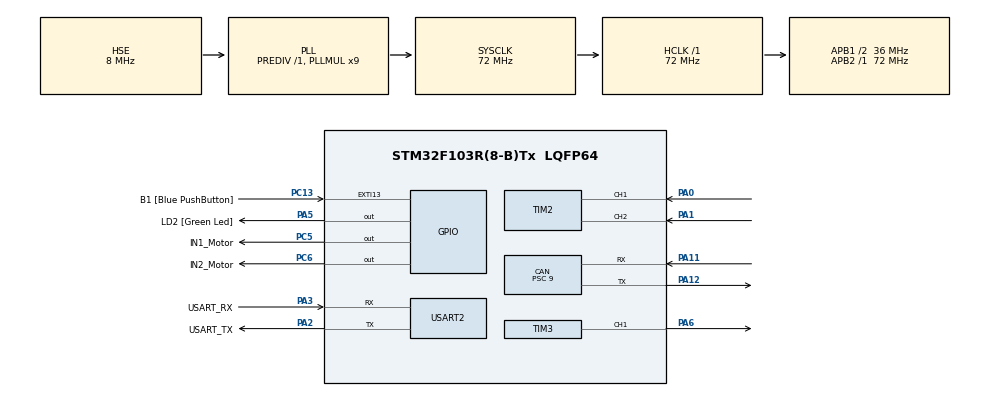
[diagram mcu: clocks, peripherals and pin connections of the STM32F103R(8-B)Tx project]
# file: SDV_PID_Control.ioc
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CAN.BS1=CAN_BS1_4TQ
CAN.BS2=CAN_BS2_3TQ
CAN.CalculateBaudRate=500000
CAN.CalculateTimeBit=2000
CAN.CalculateTimeQuantum=250.0
CAN.Prescaler=9
Mcu.Family=STM32F1
Mcu.Name=STM32F103R(8-B)Tx
Mcu.Package=LQFP64
NVIC.EXTI15_10_IRQn=true\:0\:0\:false\:false\:true\:true\:true\:true
NVIC.PriorityGroup=NVIC_PRIORITYGROUP_4
NVIC.TIM4_IRQn=true\:0\:0\:false\:false\:true\:true\:true\:true
NVIC.USB_LP_CAN1_RX0_IRQn=true\:0\:0\:false\:false\:true\:true\:true\:true
PA0-WKUP.Signal=S_TIM2_CH1_ETR
PA1.Signal=S_TIM2_CH2
PA11.Mode=CAN_Activate
PA11.Signal=CAN_RX
PA12.Mode=CAN_Activate
PA12.Signal=CAN_TX
PA13.GPIO_Label=TMS
PA13.Mode=Serial_Wire
PA13.Signal=SYS_JTMS-SWDIO
PA14.GPIO_Label=TCK
PA14.Mode=Serial_Wire
PA14.Signal=SYS_JTCK-SWCLK
PA2.GPIO_Label=USART_TX
PA2.GPIO_Mode=GPIO_MODE_AF_PP
PA2.GPIO_PuPd=GPIO_NOPULL
PA2.GPIO_Speed=GPIO_SPEED_FREQ_LOW
PA2.Mode=Asynchronous
PA2.Signal=USART2_TX
PA3.GPIO_Label=USART_RX
PA3.GPIO_Mode=GPIO_MODE_AF_PP
PA3.GPIO_PuPd=GPIO_NOPULL
PA3.GPIO_Speed=GPIO_SPEED_FREQ_LOW
PA3.Mode=Asynchronous
PA3.Signal=USART2_RX
PA5.GPIO_Label=LD2 [Green Led]
PA5.GPIO_ModeDefaultOutputPP=GPIO_MODE_OUTPUT_PP
PA5.GPIO_PuPd=GPIO_NOPULL
PA5.GPIO_Speed=GPIO_SPEED_FREQ_LOW
PA5.Signal=GPIO_Output
PA6.Signal=S_TIM3_CH1
PB3.GPIO_Label=SWO
PB3.Signal=SYS_JTDO-TRACESWO
PC13-TAMPER-RTC.GPIO_Label=B1 [Blue PushButton]
PC13-TAMPER-RTC.GPIO_PuPd=GPIO_NOPULL
PC13-TAMPER-RTC.Signal=GPXTI13
PC14-OSC32_IN.Mode=LSE-External-Oscillator
PC14-OSC32_IN.Signal=RCC_OSC32_IN
PC15-OSC32_OUT.Mode=LSE-External-Oscillator
PC15-OSC32_OUT.Signal=RCC_OSC32_OUT
PC5.GPIO_Label=IN1_Motor
PC5.Signal=GPIO_Output
PC6.GPIO_Label=IN2_Motor
PC6.Signal=GPIO_Output
PD0-OSC_IN.Mode=HSE-External-Clock-Source
PD0-OSC_IN.Signal=RCC_OSC_IN
PD1-OSC_OUT.Mode=HSE-External-Clock-Source
PD1-OSC_OUT.Signal=RCC_OSC_OUT
ProjectManager.HeapSize=0x200
ProjectManager.StackSize=0x400
ProjectManager.TargetToolchain=STM32CubeIDE
RCC.AHBFreq_Value=72000000
RCC.APB1CLKDivider=RCC_HCLK_DIV2
RCC.APB1Freq_Value=36000000
RCC.APB1TimFreq_Value=72000000
RCC.APB2Freq_Value=72000000
RCC.APB2TimFreq_Value=72000000
RCC.HCLKFreq_Value=72000000
RCC.PLLMUL=RCC_PLL_MUL9
RCC.PLLSourceVirtual=RCC_PLLSOURCE_HSE
RCC.RTCClockSelection=RCC_RTCCLKSOURCE_LSE
RCC.SYSCLKFreq_VALUE=72000000
RCC.SYSCLKSource=RCC_SYSCLKSOURCE_PLLCLK
RCC.USBFreq_Value=72000000
SH.S_TIM2_CH1_ETR.0=TIM2_CH1,Encoder_Interface
SH.S_TIM2_CH2.0=TIM2_CH2,Encoder_Interface
SH.S_TIM3_CH1.0=TIM3_CH1,PWM Generation1 CH1
TIM2.EncoderMode=TIM_ENCODERMODE_TI12
TIM2.IC1Filter=10
TIM2.IC2Filter=10
TIM3.Channel-PWM\ Generation1\ CH1=TIM_CHANNEL_1
TIM3.Period=999
TIM3.Prescaler=71
TIM4.Period=999
TIM4.Prescaler=719
USART2.VirtualMode=VM_ASYNC
VP_TIM4_VS_ClockSourceINT.Mode=Internal
board=NUCLEO-F103RB

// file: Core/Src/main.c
/* USER CODE BEGIN Header */
/**
  ******************************************************************************
  * @file           : main.c
  * @brief          : Main program body
  ******************************************************************************
  * @attention
  *
  * Copyright (c) 2026 STMicroelectronics.
  * All rights reserved.
  *
  * This software is licensed under terms that can be found in the LICENSE file
  * in the root directory of this software component.
  * If no LICENSE file comes with this software, it is provided AS-IS.
  *
  ******************************************************************************
  */
/* USER CODE END Header */
#include "main.h"

/* USER CODE BEGIN PTD */
typedef struct {
	float Kp, Ki, Kd;
	float target_rpm;
	float current_rpm;
	float error, last_error, error_sum;
	float output;
}PID_Control;
/* USER CODE END PTD */

CAN_HandleTypeDef hcan;

TIM_HandleTypeDef htim2;
TIM_HandleTypeDef htim3;
TIM_HandleTypeDef htim4;

UART_HandleTypeDef huart2;

/* USER CODE BEGIN PV */
CAN_RxHeaderTypeDef rxHeader;
uint8_t 			rxData[8];
CAN_TxHeaderTypeDef txHeader;
uint8_t 			txData[8];
uint32_t 			txMailbox;

// 여기서 PID계수 바꿀것!!!
PID_Control motorPID = {1.3f, 0.3f, 0.01f, 0, 0, 0, 0, 0, 0};

int16_t last_cnt = 0;
volatile float current_rpm = 0;
volatile float target_rpm = 0;
volatile float pid_output = 0;

// 제어용 신호
volatile uint8_t accel_pressed = 0;
volatile uint8_t brake_pressed = 0;

/* USER CODE END PV */

void SystemClock_Config(void);
static void MX_GPIO_Init(void);
static void MX_USART2_UART_Init(void);
static void MX_CAN_Init(void);
static void MX_TIM2_Init(void);
static void MX_TIM3_Init(void);
static void MX_TIM4_Init(void);
/* USER CODE BEGIN PFP */
float update_PID(PID_Control *pid, float target, float current);
void Send_Motor_Data_to_Pi(float current_rpm, float target_rpm);

/* USER CODE END PFP */

int main(void)
{

  /* MCU Configuration--------------------------------------------------------*/

  /* Reset of all peripherals, Initializes the Flash interface and the Systick. */
  HAL_Init();

  /* Configure the system clock */
  SystemClock_Config();

  /* Initialize all configured peripherals */
  MX_GPIO_Init();
  MX_USART2_UART_Init();
  MX_CAN_Init();
  MX_TIM2_Init();
  MX_TIM3_Init();
  MX_TIM4_Init();
  /* USER CODE BEGIN 2 */

  CAN_FilterTypeDef sFilterConfig;
  sFilterConfig.FilterActivation = CAN_FILTER_ENABLE;
  sFilterConfig.FilterBank = 0;
  sFilterConfig.FilterFIFOAssignment = CAN_FILTER_FIFO0;
  sFilterConfig.FilterIdHigh = 0;
  sFilterConfig.FilterIdLow = 0;
  sFilterConfig.FilterMaskIdHigh = 0;
  sFilterConfig.FilterMaskIdLow = 0;
  sFilterConfig.FilterMode = CAN_FILTERMODE_IDMASK;
  sFilterConfig.FilterScale = CAN_FILTERSCALE_32BIT;
  HAL_CAN_ConfigFilter(&hcan, &sFilterConfig);

  HAL_CAN_Start(&hcan);
  HAL_CAN_ActivateNotification(&hcan, CAN_IT_RX_FIFO0_MSG_PENDING);
  HAL_TIM_Encoder_Start(&htim2, TIM_CHANNEL_ALL);

  HAL_TIM_PWM_Start(&htim3, TIM_CHANNEL_1);

  HAL_TIM_Base_Start_IT(&htim4);

  /* USER CODE END 2 */

  /* Infinite loop */
  while (1)
  {

  }
}

void SystemClock_Config(void)
{
  RCC_OscInitTypeDef RCC_OscInitStruct = {0};
  RCC_ClkInitTypeDef RCC_ClkInitStruct = {0};

  /** Initializes the RCC Oscillators according to the specified parameters
  * in the RCC_OscInitTypeDef structure.
  */
  RCC_OscInitStruct.OscillatorType = RCC_OSCILLATORTYPE_HSE;
  RCC_OscInitStruct.HSEState = RCC_HSE_BYPASS;
  RCC_OscInitStruct.HSEPredivValue = RCC_HSE_PREDIV_DIV1;
  RCC_OscInitStruct.HSIState = RCC_HSI_ON;
  RCC_OscInitStruct.PLL.PLLState = RCC_PLL_ON;
  RCC_OscInitStruct.PLL.PLLSource = RCC_PLLSOURCE_HSE;
  RCC_OscInitStruct.PLL.PLLMUL = RCC_PLL_MUL9;
  if (HAL_RCC_OscConfig(&RCC_OscInitStruct) != HAL_OK)
  {
    Error_Handler();
  }

  /** Initializes the CPU, AHB and APB buses clocks
  */
  RCC_ClkInitStruct.ClockType = RCC_CLOCKTYPE_HCLK|RCC_CLOCKTYPE_SYSCLK
                              |RCC_CLOCKTYPE_PCLK1|RCC_CLOCKTYPE_PCLK2;
  RCC_ClkInitStruct.SYSCLKSource = RCC_SYSCLKSOURCE_PLLCLK;
  RCC_ClkInitStruct.AHBCLKDivider = RCC_SYSCLK_DIV1;
  RCC_ClkInitStruct.APB1CLKDivider = RCC_HCLK_DIV2;
  RCC_ClkInitStruct.APB2CLKDivider = RCC_HCLK_DIV1;

  if (HAL_RCC_ClockConfig(&RCC_ClkInitStruct, FLASH_LATENCY_2) != HAL_OK)
  {
    Error_Handler();
  }
}

static void MX_CAN_Init(void)
{

  hcan.Instance = CAN1;
  hcan.Init.Prescaler = 9;
  hcan.Init.Mode = CAN_MODE_NORMAL;
  hcan.Init.SyncJumpWidth = CAN_SJW_1TQ;
  hcan.Init.TimeSeg1 = CAN_BS1_4TQ;
  hcan.Init.TimeSeg2 = CAN_BS2_3TQ;
  hcan.Init.TimeTriggeredMode = DISABLE;
  hcan.Init.AutoBusOff = DISABLE;
  hcan.Init.AutoWakeUp = DISABLE;
  hcan.Init.AutoRetransmission = DISABLE;
  hcan.Init.ReceiveFifoLocked = DISABLE;
  hcan.Init.TransmitFifoPriority = DISABLE;
  if (HAL_CAN_Init(&hcan) != HAL_OK)
  {
    Error_Handler();
  }

}

static void MX_TIM2_Init(void)
{

  TIM_Encoder_InitTypeDef sConfig = {0};
  TIM_MasterConfigTypeDef sMasterConfig = {0};

  htim2.Instance = TIM2;
  htim2.Init.Prescaler = 0;
  htim2.Init.CounterMode = TIM_COUNTERMODE_UP;
  htim2.Init.Period = 65535;
  htim2.Init.ClockDivision = TIM_CLOCKDIVISION_DIV1;
  htim2.Init.AutoReloadPreload = TIM_AUTORELOAD_PRELOAD_DISABLE;
  sConfig.EncoderMode = TIM_ENCODERMODE_TI12;
  sConfig.IC1Polarity = TIM_ICPOLARITY_RISING;
  sConfig.IC1Selection = TIM_ICSELECTION_DIRECTTI;
  sConfig.IC1Prescaler = TIM_ICPSC_DIV1;
  sConfig.IC1Filter = 10;
  sConfig.IC2Polarity = TIM_ICPOLARITY_RISING;
  sConfig.IC2Selection = TIM_ICSELECTION_DIRECTTI;
  sConfig.IC2Prescaler = TIM_ICPSC_DIV1;
  sConfig.IC2Filter = 10;
  if (HAL_TIM_Encoder_Init(&htim2, &sConfig) != HAL_OK)
  {
    Error_Handler();
  }
  sMasterConfig.MasterOutputTrigger = TIM_TRGO_RESET;
  sMasterConfig.MasterSlaveMode = TIM_MASTERSLAVEMODE_DISABLE;
  if (HAL_TIMEx_MasterConfigSynchronization(&htim2, &sMasterConfig) != HAL_OK)
  {
    Error_Handler();
  }

}

static void MX_TIM3_Init(void)
{

  TIM_MasterConfigTypeDef sMasterConfig = {0};
  TIM_OC_InitTypeDef sConfigOC = {0};

  htim3.Instance = TIM3;
  htim3.Init.Prescaler = 71;
  htim3.Init.CounterMode = TIM_COUNTERMODE_UP;
  htim3.Init.Period = 999;
  htim3.Init.ClockDivision = TIM_CLOCKDIVISION_DIV1;
  htim3.Init.AutoReloadPreload = TIM_AUTORELOAD_PRELOAD_DISABLE;
  if (HAL_TIM_PWM_Init(&htim3) != HAL_OK)
  {
    Error_Handler();
  }
  sMasterConfig.MasterOutputTrigger = TIM_TRGO_RESET;
  sMasterConfig.MasterSlaveMode = TIM_MASTERSLAVEMODE_DISABLE;
  if (HAL_TIMEx_MasterConfigSynchronization(&htim3, &sMasterConfig) != HAL_OK)
  {
    Error_Handler();
  }
  sConfigOC.OCMode = TIM_OCMODE_PWM1;
  sConfigOC.Pulse = 0;
  sConfigOC.OCPolarity = TIM_OCPOLARITY_HIGH;
  sConfigOC.OCFastMode = TIM_OCFAST_DISABLE;
  if (HAL_TIM_PWM_ConfigChannel(&htim3, &sConfigOC, TIM_CHANNEL_1) != HAL_OK)
  {
    Error_Handler();
  }
  HAL_TIM_MspPostInit(&htim3);

}

static void MX_TIM4_Init(void)
{

  TIM_ClockConfigTypeDef sClockSourceConfig = {0};
  TIM_MasterConfigTypeDef sMasterConfig = {0};

  htim4.Instance = TIM4;
  htim4.Init.Prescaler = 719;
  htim4.Init.CounterMode = TIM_COUNTERMODE_UP;
  htim4.Init.Period = 999;
  htim4.Init.ClockDivision = TIM_CLOCKDIVISION_DIV1;
  htim4.Init.AutoReloadPreload = TIM_AUTORELOAD_PRELOAD_DISABLE;
  if (HAL_TIM_Base_Init(&htim4) != HAL_OK)
  {
    Error_Handler();
  }
  sClockSourceConfig.ClockSource = TIM_CLOCKSOURCE_INTERNAL;
  if (HAL_TIM_ConfigClockSource(&htim4, &sClockSourceConfig) != HAL_OK)
  {
    Error_Handler();
  }
  sMasterConfig.MasterOutputTrigger = TIM_TRGO_RESET;
  sMasterConfig.MasterSlaveMode = TIM_MASTERSLAVEMODE_DISABLE;
  if (HAL_TIMEx_MasterConfigSynchronization(&htim4, &sMasterConfig) != HAL_OK)
  {
    Error_Handler();
  }

}

static void MX_USART2_UART_Init(void)
{

  huart2.Instance = USART2;
  huart2.Init.BaudRate = 115200;
  huart2.Init.WordLength = UART_WORDLENGTH_8B;
  huart2.Init.StopBits = UART_STOPBITS_1;
  huart2.Init.Parity = UART_PARITY_NONE;
  huart2.Init.Mode = UART_MODE_TX_RX;
  huart2.Init.HwFlowCtl = UART_HWCONTROL_NONE;
  huart2.Init.OverSampling = UART_OVERSAMPLING_16;
  if (HAL_UART_Init(&huart2) != HAL_OK)
  {
    Error_Handler();
  }

}

static void MX_GPIO_Init(void)
{
  GPIO_InitTypeDef GPIO_InitStruct = {0};

  /* GPIO Ports Clock Enable */
  __HAL_RCC_GPIOC_CLK_ENABLE();
  __HAL_RCC_GPIOD_CLK_ENABLE();
  __HAL_RCC_GPIOA_CLK_ENABLE();
  __HAL_RCC_GPIOB_CLK_ENABLE();

  /*Configure GPIO pin Output Level */
  HAL_GPIO_WritePin(LD2_GPIO_Port, LD2_Pin, GPIO_PIN_RESET);

  /*Configure GPIO pin Output Level */
  HAL_GPIO_WritePin(GPIOC, IN1_Motor_Pin|IN2_Motor_Pin, GPIO_PIN_RESET);

  /*Configure GPIO pin : B1_Pin */
  GPIO_InitStruct.Pin = B1_Pin;
  GPIO_InitStruct.Mode = GPIO_MODE_IT_RISING;
  GPIO_InitStruct.Pull = GPIO_NOPULL;
  HAL_GPIO_Init(B1_GPIO_Port, &GPIO_InitStruct);

  /*Configure GPIO pin : LD2_Pin */
  GPIO_InitStruct.Pin = LD2_Pin;
  GPIO_InitStruct.Mode = GPIO_MODE_OUTPUT_PP;
  GPIO_InitStruct.Pull = GPIO_NOPULL;
  GPIO_InitStruct.Speed = GPIO_SPEED_FREQ_LOW;
  HAL_GPIO_Init(LD2_GPIO_Port, &GPIO_InitStruct);

  /*Configure GPIO pins : IN1_Motor_Pin IN2_Motor_Pin */
  GPIO_InitStruct.Pin = IN1_Motor_Pin|IN2_Motor_Pin;
  GPIO_InitStruct.Mode = GPIO_MODE_OUTPUT_PP;
  GPIO_InitStruct.Pull = GPIO_NOPULL;
  GPIO_InitStruct.Speed = GPIO_SPEED_FREQ_LOW;
  HAL_GPIO_Init(GPIOC, &GPIO_InitStruct);

  /* EXTI interrupt init*/
  HAL_NVIC_SetPriority(EXTI15_10_IRQn, 0, 0);
  HAL_NVIC_EnableIRQ(EXTI15_10_IRQn);

}

/* USER CODE BEGIN 4 */

void Send_Motor_Data_to_Pi(float current_rpm, float target_rpm){
	txHeader.StdId = 0x201;
	txHeader.RTR = CAN_RTR_DATA;
	txHeader.IDE = CAN_ID_STD;
	txHeader.DLC = 8;

	int16_t rpm_val = (int16_t)(current_rpm * 10);
	int16_t target_val = (int16_t)(target_rpm * 10);

	txData[0] = (rpm_val >> 8) & 0xFF;
	txData[1] = rpm_val & 0xFF;
	txData[2] = (target_val >> 8)&0xFF;
	txData[3] = target_val & 0xFF;
	for(int i=4; i<8; i++) txData[i] = 0;

	// Send Message to Pi
	if(HAL_CAN_AddTxMessage(&hcan, &txHeader, txData, &txMailbox) != HAL_OK){

	}

}

float update_PID(PID_Control *pid, float target, float current){
	pid->target_rpm = target;
	pid->current_rpm = current;
	pid->error = pid->target_rpm - pid->current_rpm;

	//P
	float p_out = pid->Kp * pid->error;
	//I
	pid->error_sum += pid->error;
//	if (pid->error_sum > 1000.0f) pid->error_sum = 1000.0f;
//	if (pid->error_sum < -1000.0f) pid->error_sum = -1000.0f;
	float i_out = pid->Ki * pid->error_sum;
	//D
	float d_out = pid->Kd * (pid->error - pid->last_error);
	pid->last_error = pid->error;

	//cal
	pid->output = p_out+i_out+d_out;
	if(pid->output > 999.0f) pid->output=999.0f;
	if(pid->output < 0.0f) pid->output=0.0f;

	return pid->output;
}
// 1ms마다 모터제어 + 모터데이터 전송!
void HAL_TIM_PeriodElapsedCallback(TIM_HandleTypeDef *htim){
	if(htim->Instance == TIM4){
		int16_t current_cnt = (int16_t)htim2.Instance->CNT;
		int16_t delta = current_cnt - last_cnt;

//		current_rpm = ((float)delta/1632.0f)*6000.0f;
		current_rpm = (float)delta * 3.67647f;
		last_cnt = current_cnt;

		if(accel_pressed){
			target_rpm += 1.0f;
		}
		else if(brake_pressed){
			target_rpm -= 0.8f;
		}
		else{
			target_rpm -= 0.2f;
		}

		// 속도 범위 제한 (최대 120 RPM, 최소 0)
		if (target_rpm > 160.0f) target_rpm = 160.0f;
		if (target_rpm < 0) target_rpm = 0;
		pid_output = update_PID(&motorPID, target_rpm, current_rpm);

		if(target_rpm <= 0.0f && current_rpm<=0.0f){
			pid_output = 0;
			motorPID.error_sum = 0;
		}
		// 모터 정방향설정
		HAL_GPIO_WritePin(GPIOC, IN1_Motor_Pin, GPIO_PIN_RESET);
		HAL_GPIO_WritePin(GPIOC, IN2_Motor_Pin, GPIO_PIN_SET);

		// PID 결과값(0~999 사이)을 PWM 비교 레지스터에 기록
		__HAL_TIM_SET_COMPARE(&htim3, TIM_CHANNEL_1, (uint16_t)pid_output);

		// Send to Pi the Motor Data
		Send_Motor_Data_to_Pi(current_rpm, target_rpm);
	}
}
// Pi로부터 CAN 받는 신호 -> 이제 이걸로 모터 변수에 신호 주는것으로 바꿔야한다!
void HAL_CAN_RxFifo0MsgPendingCallback(CAN_HandleTypeDef *hcan){
	if(hcan->Instance == CAN1){
		if(HAL_CAN_GetRxMessage(hcan, CAN_RX_FIFO0, &rxHeader, rxData) == HAL_OK){
			// Brake Logic
			if(rxHeader.StdId == 0x102){
				if(rxData[0] == 1){
					accel_pressed = 0;
					brake_pressed = 1;
				}
				else{
					brake_pressed = 0;
				}
			}
			// Accel Logic
			else if(rxHeader.StdId == 0x101){
				if(rxData[0]==1){
					accel_pressed = 1;
					brake_pressed = 0;
				}
				else{
					accel_pressed = 0;
				}
			}
		}

	}
}

/* USER CODE END 4 */

void Error_Handler(void)
{
  __disable_irq();
  while (1)
  {
  }
}
